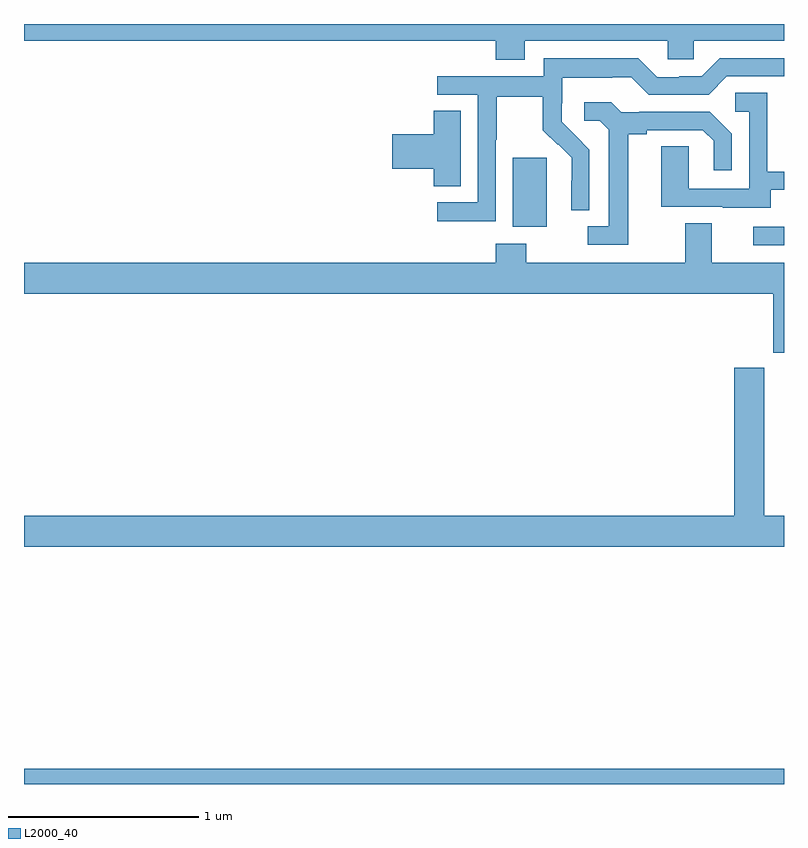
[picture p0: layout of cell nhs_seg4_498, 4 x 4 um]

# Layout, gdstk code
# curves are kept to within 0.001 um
import gdstk
lib = gdstk.Library(unit=1e-6, precision=1e-09)
def R(c, l, rs):  # rectangles x0, y0, x1, y1
    for r in rs: c.add(gdstk.rectangle(r[:2], r[2:], *l))
def P(c, l, *ps):  # polygons
    for p in ps: c.add(gdstk.Polygon(p, *l))
L2000_40 = (2000, 40)

nhs_seg4_498 = lib.new_cell('nhs_seg4_498')
R(nhs_seg4_498, L2000_40, [(135,800.9,139,800.98), (138.837,803.736,139,803.832), (137.573,803.834,137.752,804.195)])
P(nhs_seg4_498, L2000_40, [(135,804.812),(137.483,804.812),(137.483,804.713),(137.635,804.713),(137.635,804.812),(138.387,804.812),(138.387,804.714),(138.525,804.714),(138.525,804.812),(139,804.812),(139,804.9),(135,804.9)],
  [(137.484,804.292),(137.487,804.292),(137.487,804.516),(137.731,804.516),(137.731,804.341),(137.808,804.264),(137.811,804.267),(137.882,804.197),(137.882,804.074),(137.88,804.074),(137.88,803.92),(137.976,803.92),(137.976,804.238),(137.83,804.386),(137.83,804.483),(137.832,804.483),(137.832,804.617),(138.095,804.617),(138.095,804.621),(138.195,804.621),(138.288,804.528),(138.603,804.528),(138.699,804.624),(139,804.624),(139,804.72),(138.663,804.72),(138.567,804.624),(138.449,804.624),(138.449,804.621),(138.333,804.621),(138.233,804.721),(137.736,804.721),(137.736,804.624),(137.175,804.624),(137.175,804.528),(137.388,804.528),(137.388,803.961),(137.175,803.961),(137.175,803.863),(137.484,803.863)],
  [(138.931,804.027),(139,804.027),(139,804.123),(138.912,804.123),(138.912,804.539),(138.744,804.539),(138.744,804.438),(138.816,804.438),(138.816,804.033),(138.498,804.033),(138.498,804.257),(138.353,804.257),(138.353,803.937),(138.677,803.937),(138.677,803.933),(138.931,803.933)],
  [(138.181,804.32),(138.277,804.32),(138.277,804.342),(138.572,804.342),(138.629,804.285),(138.629,804.129),(138.726,804.129),(138.726,804.322),(138.61,804.438),(138.238,804.438),(138.238,804.435),(138.144,804.435),(138.092,804.487),(137.949,804.487),(137.949,804.39),(138.03,804.39),(138.077,804.343),(138.077,803.835),(137.967,803.835),(137.967,803.739),(138.181,803.739)],
  [(137.299,804.443),(137.156,804.443),(137.156,804.32),(136.938,804.32),(136.938,804.137),(137.156,804.137),(137.156,804.046),(137.299,804.046)],
  [(139,803.644),(138.619,803.644),(138.619,803.852),(138.479,803.852),(138.479,803.644),(137.643,803.644),(137.643,803.743),(137.483,803.743),(137.483,803.644),(135,803.644),(135,803.48),(138.944,803.48),(138.944,803.171),(139,803.171)],
  [(139,802.312),(138.897,802.312),(138.897,803.092),(138.737,803.092),(138.737,802.312),(135,802.312),(135,802.148),(139,802.148)])

lib.write_gds('nhs_seg4_498.gds')
